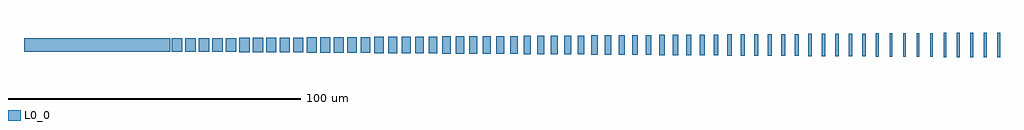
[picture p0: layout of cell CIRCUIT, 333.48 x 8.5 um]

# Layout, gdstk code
import gdstk
lib = gdstk.Library(unit=1e-6, precision=1e-09)
def R(c, l, rs):  # rectangles x0, y0, x1, y1
    for r in rs: c.add(gdstk.rectangle(r[:2], r[2:], *l))
L0_0 = (0, 0)

circuit = lib.new_cell('CIRCUIT')
R(circuit, L0_0, [(332.596,195.75,333.475,204.25), (327.992,195.783,328.874,204.217), (323.388,195.816,324.274,204.184), (318.781,195.848,319.677,204.152), (314.173,195.881,315.081,204.119), (309.562,195.914,310.486,204.086), (304.951,195.947,305.894,204.053), (300.337,195.98,301.303,204.02), (295.722,196.012,296.714,203.988), (291.105,196.045,292.126,203.955), (286.487,196.078,287.54,203.922), (281.867,196.111,282.956,203.889), (277.245,196.143,278.373,203.857), (272.622,196.176,273.791,203.824), (267.998,196.209,269.211,203.791), (263.372,196.242,264.633,203.758), (258.745,196.275,260.055,203.725), (254.117,196.307,255.479,203.693), (249.488,196.34,250.904,203.66), (244.857,196.373,246.33,203.627), (240.226,196.406,241.757,203.594), (235.594,196.439,237.184,203.561), (230.961,196.471,232.613,203.529), (226.327,196.504,228.043,203.496), (221.692,196.537,223.473,203.463), (217.057,196.57,218.903,203.43), (212.422,196.602,214.335,203.398), (207.786,196.635,209.766,203.365), (203.149,196.668,205.198,203.332), (198.513,196.701,200.63,203.299), (193.876,196.734,196.063,203.266), (189.239,196.766,191.495,203.234), (184.603,196.799,186.927,203.201), (179.966,196.832,182.359,203.168), (175.33,196.865,177.791,203.135), (170.694,196.898,173.223,203.102), (166.058,196.93,168.654,203.07), (161.423,196.963,164.085,203.037), (156.788,196.996,159.515,203.004), (152.155,197.029,154.944,202.971), (147.522,197.061,150.373,202.939), (142.889,197.094,145.801,202.906), (138.258,197.127,141.228,202.873), (133.628,197.16,136.654,202.84), (128.998,197.193,132.079,202.807), (124.37,197.225,127.503,202.775), (119.743,197.258,122.925,202.742), (115.118,197.291,118.346,202.709), (110.493,197.324,113.766,202.676), (105.87,197.357,109.185,202.643), (101.249,197.389,104.602,202.611), (96.629,197.422,100.017,202.578), (92.01,197.455,95.431,202.545), (87.394,197.488,90.844,202.512), (82.778,197.52,86.255,202.48), (78.165,197.553,81.664,202.447), (73.553,197.586,77.071,202.414), (68.943,197.619,72.477,202.381), (64.334,197.652,67.881,202.348), (59.728,197.684,63.283,202.316), (55.123,197.717,58.684,202.283), (0,197.75,50,202.25), (50.52,197.75,54.082,202.25)])

lib.write_gds('CIRCUIT.gds')
